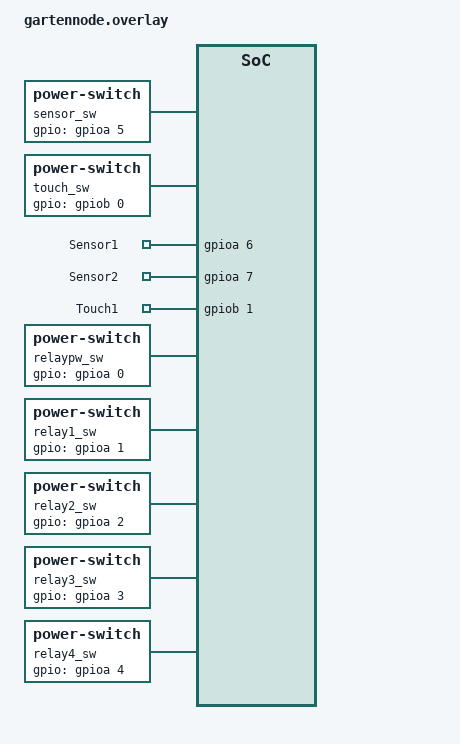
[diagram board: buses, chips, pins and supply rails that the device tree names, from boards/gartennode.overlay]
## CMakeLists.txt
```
cmake_minimum_required(VERSION 3.20.0)

list(APPEND BOARD_ROOT ${CMAKE_CURRENT_SOURCE_DIR})

macro(app_set_runner_args)
  board_runner_args(canopen "--node-id=${CONFIG_CANOPEN_NODE_ID}")
endmacro()

find_package(Zephyr REQUIRED HINTS $ENV{ZEPHYR_BASE})
project(gartennode_wasserverteiler)
FILE(GLOB app_sources src/*.c)
target_sources(app PRIVATE ${app_sources} objdict/CO_OD.c)
zephyr_include_directories(objdict src)
```

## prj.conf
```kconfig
# Print a banner on the UART on startup.
CONFIG_BOOT_BANNER=y

CONFIG_LOG=y
CONFIG_LOG_BACKEND_UART=y
CONFIG_CANOPEN_LOG_LEVEL_DBG=y
CONFIG_MULTITHREADING=y
CONFIG_WDT_LOG_LEVEL_DBG=y
CONFIG_WDT_DISABLE_AT_BOOT=y
CONFIG_WATCHDOG=y
CONFIG_TASK_WDT=y
CONFIG_TASK_WDT_MIN_TIMEOUT=500
CONFIG_THREAD_NAME=y
CONFIG_HEAP_MEM_POOL_SIZE=1024

CONFIG_GPIO=y
#CONFIG_ADC=y
CONFIG_SENSOR=y
CONFIG_FLASH=y
CONFIG_FLASH_MAP=y
CONFIG_STREAM_FLASH=y
CONFIG_SETTINGS=y
CONFIG_SETTINGS_NVS=y
CONFIG_NVS=y

CONFIG_CAN=y
#CONFIG_CAN_MAX_FILTER=13

CONFIG_MAIN_STACK_SIZE=2048

CONFIG_CANOPEN=y
CONFIG_CANOPENNODE_SYNC_THREAD=y
CONFIG_CANOPENNODE_STORAGE=y
CONFIG_MPU_ALLOW_FLASH_WRITE=y
CONFIG_CANOPENNODE_LEDS=y
CONFIG_CANOPENNODE_PROGRAM_DOWNLOAD=y
CONFIG_CANOPEN_NODE_ID=14
CONFIG_SETTINGS_LOG_LEVEL_DBG=y

CONFIG_LOG_PRINTK=y
CONFIG_REBOOT=y
# Enable Zephyr application to be booted by MCUboot
CONFIG_BOOTLOADER_MCUBOOT=y

# Use the default MCUBoot PEM key file (BOOT_SIGNATURE_KEY_FILE)
CONFIG_MCUBOOT_SIGNATURE_KEY_FILE="bootloader/mcuboot/gartennode.pem"
```

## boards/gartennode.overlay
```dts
/*
 * Copyright (c) 2022 Google LLC.
 *
 * SPDX-License-Identifier: Apache-2.0
 */

/ {
	sensor_sw: sensor_sw {
		compatible = "power-switch";
		gpios = <&gpioa 5 (GPIO_PULL_DOWN | GPIO_ACTIVE_HIGH)>;
		status = "okay";
	};
	touch_sw: touch_sw {
		compatible = "power-switch";
		gpios = <&gpiob 0 GPIO_ACTIVE_HIGH>;
		status = "okay";
	};

	buttons {
		compatible = "gpio-keys";
		sensor1: sensor1 {
			gpios = <&gpioa 6 GPIO_ACTIVE_HIGH>;
			label = "Sensor1";
		};
		sensor2: sensor2 {
			gpios = <&gpioa 7 GPIO_ACTIVE_HIGH>;
			label = "Sensor2";
		};
		touch1: touch1 {
			gpios = <&gpiob 1 GPIO_ACTIVE_HIGH>;
			label = "Touch1";
		};
	};

	relaypw_sw: relaypw_sw {
		compatible = "power-switch";
		/* using built-in LED pin for demonstration */
		gpios = <&gpioa 0 (GPIO_PULL_DOWN | GPIO_ACTIVE_HIGH)>;
		status = "okay";
	};
	relay1_sw: relay1_sw {
		compatible = "power-switch";
		/* using built-in LED pin for demonstration */
		gpios = <&gpioa 1 (GPIO_PULL_DOWN | GPIO_ACTIVE_HIGH)>;
		status = "okay";
	};
	relay2_sw: relay2_sw {
		compatible = "power-switch";
		/* using built-in LED pin for demonstration */
		gpios = <&gpioa 2 (GPIO_PULL_DOWN | GPIO_ACTIVE_HIGH)>;
		status = "okay";
	};
	relay3_sw: relay3_sw {
		compatible = "power-switch";
		/* using built-in LED pin for demonstration */
		gpios = <&gpioa 3 (GPIO_PULL_DOWN | GPIO_ACTIVE_HIGH)>;
		status = "okay";
	};
	relay4_sw: relay4_sw {
		compatible = "power-switch";
		/* using built-in LED pin for demonstration */
		gpios = <&gpioa 4 (GPIO_PULL_DOWN | GPIO_ACTIVE_HIGH)>;
		status = "okay";
	};

	aliases {
		green-led = &green_led;
	};
};
```

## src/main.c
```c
/*
 * Copyright (c) 2019 Vestas Wind Systems A/S
 *
 * SPDX-License-Identifier: Apache-2.0
 */

#include <inttypes.h>
#include <zephyr/kernel.h>
#include <zephyr/drivers/gpio.h>
#include <zephyr/sys/reboot.h>
#include <zephyr/settings/settings.h>
#include <zephyr/drivers/sensor.h>
#include <zephyr/drivers/sensor/w1_sensor.h>
#include <zephyr/storage/flash_map.h>
#include <zephyr/sys/printk.h>
#include <canopennode.h>
#include "valve.h"
#include "relais.h"
#include "watchdog.h"
#include "sensor.h"
#include "touch.h"
#include "led.h"

#define LOG_LEVEL CONFIG_CANOPEN_LOG_LEVEL
#include <zephyr/logging/log.h>
LOG_MODULE_REGISTER(app);

static CO_SDO_abortCode_t odf_2102(CO_ODF_arg_t *odf_arg);
static CO_SDO_abortCode_t odf_2103(CO_ODF_arg_t *odf_arg);
static CO_SDO_abortCode_t odf_2105(CO_ODF_arg_t *odf_arg);
static CO_SDO_abortCode_t odf_2107(CO_ODF_arg_t *odf_arg);
static CO_SDO_abortCode_t odf_2109(CO_ODF_arg_t *odf_arg);
static CO_SDO_abortCode_t odf_2111(CO_ODF_arg_t *odf_arg);
static CO_SDO_abortCode_t odf_2112(CO_ODF_arg_t *odf_arg);
static CO_SDO_abortCode_t odf_2113(CO_ODF_arg_t *odf_arg);

#define STORAGE_PARTITION	storage_partition
#define STORAGE_PARTITION_ID	FIXED_PARTITION_ID(STORAGE_PARTITION)

#define CAN_INTERFACE DEVICE_DT_GET(DT_CHOSEN(zephyr_canbus))
#define CAN_BITRATE (DT_PROP_OR(DT_CHOSEN(zephyr_canbus), bitrate, \
					  DT_PROP_OR(DT_CHOSEN(zephyr_canbus), bus_speed, \
						     CONFIG_CAN_DEFAULT_BITRATE)) / 1000)


/**
 * @brief Watchdog callback function
 *
 * @param channel_id Watchdog channel ID
 * @param user_data Pointer to user data (thread ID)
 */
static void main_watchdog_callback(int channel_id, void *user_data)
{
    LOG_ERR("Watchdog channel %d callback, user data: %p",
        channel_id, k_thread_name_get((k_tid_t)user_data));
	sys_reboot(SYS_REBOOT_COLD);
}

/**
 * @brief Configure LED indicators pins and callbacks.
 *
 * This routine configures the GPIOs for the red and green LEDs (if
 * available).
 *
 * @param nmt CANopenNode NMT object.
 */
static void initialize()
{
	if (led_init() != 0) {
		LOG_ERR("LED initialization failed");
	}
	if (sensor_init() != 0) {
		LOG_ERR("Sensor initialization failed");
	}
	if (relais_init() != 0) {
		LOG_ERR("Relais initialization failed");
	}
	if (touch_init() != 0) {
		LOG_ERR("Touch initialization failed");
	}
	// if (watchdog_init() != 0) {
	// 	LOG_ERR("Watchdog initialization failed");
	// }
}

/**
 * @brief Set sensor Enable
 *
 * @param odf_arg SDO argument structure.
 * @return SDO abort code.
 */
static CO_SDO_abortCode_t odf_2102(CO_ODF_arg_t *odf_arg)
{
	if (odf_arg->reading) {
		return CO_SDO_AB_NONE;
	}

	uint8_t value;

	if (odf_arg->data == NULL) {
		return CO_SDO_AB_GENERAL;
	}
	value = *odf_arg->data;
	
	int ret = sensor_enable(value);
	LOG_DBG("sensor_enable returned %d", ret);
	if (ret == 0 || ret == 1) {
		return CO_SDO_AB_NONE;
	}
	return CO_SDO_AB_GENERAL;
}

/**
 * @brief Set sensor period
 *
 * @param odf_arg SDO argument structure.
 * @return SDO abort code.
 */
static CO_SDO_abortCode_t odf_2103(CO_ODF_arg_t *odf_arg)
{
	if (odf_arg->reading) {
		return CO_SDO_AB_NONE;
	}
	if (odf_arg->data == NULL) {
		return CO_SDO_AB_GENERAL;
	}
	uint8_t value;
	value = *odf_arg->data;
	LOG_DBG("Set sensor period to %d ms", value);
	return CO_SDO_AB_NONE;
}

/**
 * @brief Set sensor Mapping
 *
 * @param odf_arg SDO argument structure.
 * @return SDO abort code.
 */
static CO_SDO_abortCode_t odf_2105(CO_ODF_arg_t *odf_arg)
{
	if (odf_arg->reading) {
		return CO_SDO_AB_NONE;
	}
	if (odf_arg->data == NULL) {
		return CO_SDO_AB_GENERAL;
	}
	if (odf_arg->subIndex == 0U || odf_arg->subIndex > 2U) {
		return CO_SDO_AB_GENERAL;
	}
	uint8_t value;
	value = *odf_arg->data;
	if (value == 0xFF) {
		canopen_storage_erase(CANOPEN_STORAGE_EEPROM);
		return CO_SDO_AB_NONE;
	}
	if (value >= 8) {
		LOG_ERR("Mapping value not possible");
		return CO_SDO_AB_GENERAL;
	}
	// memcpy(odf_arg->ODdataStorage, odf_arg->data, sizeof(uint8_t));

	renew_sensor_mapping();
	return CO_SDO_AB_NONE;
}

/**
 * @brief Set relais command
 *
 * @param odf_arg SDO argument structure.
 * @return SDO abort code.
 */
static CO_SDO_abortCode_t odf_2107(CO_ODF_arg_t *odf_arg)
{
	if (odf_arg->data == NULL) {
		return CO_SDO_AB_GENERAL;
	}
	if (odf_arg->subIndex == 0U) {
		return CO_SDO_AB_GENERAL;
	}

	uint8_t value;
	value = *odf_arg->data;
	if (valve_set_state((odf_arg->subIndex - 1)>>1, 0xFF) != 0) {
		return CO_SDO_AB_GENERAL;
	}
	return CO_SDO_AB_NONE;
}

/**
 * @brief Set valve order
 *
 * @param odf_arg SDO argument structure.
 * @return SDO abort code.
 */
static CO_SDO_abortCode_t odf_2109(CO_ODF_arg_t *odf_arg)
{
	if (odf_arg->data == NULL) {
		return CO_SDO_AB_GENERAL;
	}
	if (odf_arg->subIndex == 0U) {
		return CO_SDO_AB_GENERAL;
	}
	if (odf_arg->subIndex > 2) {
		LOG_ERR("SubIndex not possible");
		return CO_SDO_AB_GENERAL;
	}
	uint8_t value;
	value = *odf_arg->data;
	if (valve_order(odf_arg->subIndex - 1, (bool)value) != 0) {
		return CO_SDO_AB_GENERAL;
	}
	return CO_SDO_AB_NONE;
}

/**
 * @brief Set valve routine time
 *
 * @param odf_arg SDO argument structure.
 * @return SDO abort code.
 */
static CO_SDO_abortCode_t odf_2110(CO_ODF_arg_t *odf_arg)
{
	if (odf_arg->reading) {
		return CO_SDO_AB_NONE;
	}
	if (odf_arg->data == NULL) {
		return CO_SDO_AB_GENERAL;
	}
	uint32_t value;
	value = (*(uint32_t *)(odf_arg->data));
	LOG_DBG("Set valve routine time to %"PRIu32" ms", value);
	return CO_SDO_AB_NONE;
}

/**
 * @brief Set valve Mapping
 *
 * @param odf_arg SDO argument structure.
 * @return SDO abort code.
 */
static CO_SDO_abortCode_t odf_2111(CO_ODF_arg_t *odf_arg)
{
	if (odf_arg->reading) {
		return CO_SDO_AB_NONE;
	}
	if (odf_arg->data == NULL) {
		return CO_SDO_AB_GENERAL;
	}
	if (odf_arg->subIndex == 0U || odf_arg->subIndex > 4U) {
		return CO_SDO_AB_GENERAL;
	}
	uint8_t value;
	value = *odf_arg->data;
	if (value >= 4) {
		LOG_ERR("Mapping value not possible");
		return CO_SDO_AB_GENERAL;
	}
	// memcpy(odf_arg->ODdataStorage, odf_arg->data, sizeof(uint8_t));

	return CO_SDO_AB_NONE;
}

/**
 * @brief Set touch Enable
 *
 * @param odf_arg SDO argument structure.
 * @return SDO abort code.
 */
static CO_SDO_abortCode_t odf_2112(CO_ODF_arg_t *odf_arg)
{
	if (odf_arg->reading) {
		return CO_SDO_AB_NONE;
	}

	uint8_t value;

	if (odf_arg->data == NULL) {
		return CO_SDO_AB_GENERAL;
	}
	value = *odf_arg->data;
	LOG_DBG("Set touch enable to %d", value);
	int ret = touch_enable(value);
	LOG_DBG("touch_enable returned %d", ret);
	if (ret == 0 || ret == 1) {
		return CO_SDO_AB_NONE;
	}
	return CO_SDO_AB_GENERAL;
}

/**
 * @brief Set touch valve index
 *
 * @param odf_arg SDO argument structure.
 * @return SDO abort code.
 */
static CO_SDO_abortCode_t odf_2113(CO_ODF_arg_t *odf_arg)
{
	if (odf_arg->reading) {
		return CO_SDO_AB_GENERAL;
	}

	uint8_t value;

	if (odf_arg->data == NULL) {
		return CO_SDO_AB_GENERAL;
	}
	value = *odf_arg->data;
	
	if (value >= 2) {
		return CO_SDO_AB_GENERAL;
	}
	// memcpy(odf_arg->ODdataStorage, odf_arg->data, sizeof(uint8_t));
	return CO_SDO_AB_NONE;
}

/**
 * @brief Main application entry point.
 *
 * The main application thread is responsible for initializing the
 * CANopen stack and doing the non real-time processing.
 */
int main(void)
{
	CO_NMT_reset_cmd_t reset = CO_RESET_NOT;
	CO_ReturnError_t err;
	struct canopen_context can;
	uint16_t timeout;
	uint32_t elapsed;
	int64_t timestamp;
	int task_id = -1;
#ifdef CONFIG_CANOPENNODE_STORAGE
	int ret;
#endif /* CONFIG_CANOPENNODE_STORAGE */
	can.dev = CAN_INTERFACE;
	if (!device_is_ready(can.dev)) {
		LOG_ERR("CAN interface not ready");
		return 0;
	}

#ifdef CONFIG_CANOPENNODE_STORAGE
	LOG_INF("Initializing settings subsystem\n");
	ret = settings_subsys_init();
	if (ret) {
		LOG_ERR("failed to initialize settings subsystem (err = %d)",
			ret);
		int error = 0;
		const struct flash_area *storage = NULL;
		// Open the partition
		error = flash_area_open(PARTITION_ID(storage_partition), &storage);
		if (error < 0) {
			return error;
		}

		// Erase the first sector (e.g., 4KB)
		error = flash_area_erase(storage, 0, PARTITION_SIZE(storage_partition));
		if (error < 0) {
			return error;
		}
		sys_reboot(SYS_REBOOT_COLD);
	}

	ret = settings_load();
	if (ret) {
		LOG_ERR("failed to load settings (err = %d)", ret);
		return 0;
	}
#endif /* CONFIG_CANOPENNODE_STORAGE */

	OD_powerOnCounter++;

	//task_id = watchdog_add(2000, main_watchdog_callback, NULL);
	if (task_id < 0) {
		LOG_ERR("Failed to add watchdog channel");
	}

	while (reset != CO_RESET_APP) {
		elapsed =  0U; /* milliseconds */

		LOG_INF("CANopen stack initialize");
		err = CO_init(&can, CONFIG_CANOPEN_NODE_ID, CAN_BITRATE);
		if (err != CO_ERROR_NO) {
			LOG_ERR("CO_init failed (err = %d)", err);
			return 0;
		}
		LOG_INF("CANopen stack initialized");

#ifdef CONFIG_CANOPENNODE_STORAGE
		canopen_storage_attach(CO->SDO[0], CO->em);
#endif /* CONFIG_CANOPENNODE_STORAGE */

		initialize();
		led_configure(CO->NMT);
		CO_OD_configure(CO->SDO[0], OD_2102_sensorEnable,
				odf_2102, NULL, 0U, 0U);
		CO_OD_configure(CO->SDO[0], OD_2103_sensorPeriode,
				odf_2103, NULL, 0U, 0U);
		CO_OD_configure(CO->SDO[0], OD_2105_sensorMapping,
				odf_2105, NULL, 0U, 0U);
		CO_OD_configure(CO->SDO[0], OD_2107_relaisCmd,
				odf_2107, NULL, 0U, 0U);
		CO_OD_configure(CO->SDO[0], OD_2109_valveCmd,
				odf_2109, NULL, 0U, 0U);
		CO_OD_configure(CO->SDO[0], OD_2110_valveRoutineTime,
				odf_2110, NULL, 0U, 0U);
		CO_OD_configure(CO->SDO[0], OD_2111_valveMapping,
				odf_2111, NULL, 0U, 0U);
		CO_OD_configure(CO->SDO[0], OD_2112_touchEnable,
				odf_2112, NULL, 0U, 0U);
		CO_OD_configure(CO->SDO[0], OD_2113_touchValveIndex,
				odf_2113, NULL, 0U, 0U);

		if (IS_ENABLED(CONFIG_CANOPENNODE_PROGRAM_DOWNLOAD)) {
			canopen_program_download_attach(CO->NMT, CO->SDO[0],
							CO->em);
		}

		sensor_enable(OD_sensorEnable);

		CO_CANsetNormalMode(CO->CANmodule[0]);
		struct sCO_OD_EEPROM eeprom_old = CO_OD_EEPROM;

		while (true) {
			timeout = 1U; /* default timeout in milliseconds */
			timestamp = k_uptime_get();
			reset = CO_process(CO, (uint16_t)elapsed, &timeout);

			if (reset != CO_RESET_NOT) {
				break;
			}

			if (timeout > 0) {
				sensor_process();
				relais_process();
				valve_process();
#ifdef CONFIG_CANOPENNODE_STORAGE
				ret = memcmp(&eeprom_old, &CO_OD_EEPROM, sizeof(CO_OD_EEPROM));
				if (ret != 0) {
					LOG_DBG("EEPROM changed, saving to flash");
					memcpy(&eeprom_old, &CO_OD_EEPROM, sizeof(CO_OD_EEPROM));
					ret = canopen_storage_save(
						CANOPEN_STORAGE_EEPROM);
					if (ret) {
						LOG_ERR("failed to save EEPROM");
					}
				}

#endif /* CONFIG_CANOPENNODE_STORAGE */
				if (task_id >= 0) {
					int ret = watchdog_feed(task_id);
					if (ret != 0) {
						LOG_ERR("Failed to feed watchdog channel %d: %d", task_id, ret);
					}
				}
				/*
				 * Try to sleep for as long as the
				 * stack requested and calculate the
				 * exact time elapsed.
				 */
				k_sleep(K_MSEC(timeout));
				elapsed = (uint32_t)k_uptime_delta(&timestamp);
			} else {
				/*
				 * Do not sleep, more processing to be
				 * done by the stack.
				 */
				elapsed = 0U;
			}
		}

        sensor_enable(false);

		if (reset == CO_RESET_COMM) {
			LOG_INF("Resetting communication");
		}
	}
	if (task_id >= 0) {
		int ret = watchdog_delete(task_id);
		if (ret != 0) {
			LOG_ERR("Failed to delete watchdog channel %d: %d", task_id, ret);
		}
	}

	LOG_INF("Resetting device");

	CO_delete(&can);
	sys_reboot(SYS_REBOOT_COLD);
}
```

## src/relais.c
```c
#include <zephyr/logging/log.h>
#include <zephyr/drivers/gpio.h>
#include <canopennode.h>
#include "relais.h"

LOG_MODULE_REGISTER(relais,CONFIG_CANOPEN_LOG_LEVEL);


static struct gpio_dt_spec relaypw_sw =
	GPIO_DT_SPEC_GET_OR(DT_NODELABEL(relaypw_sw), gpios, {0});
static struct gpio_dt_spec relay1_sw =
	GPIO_DT_SPEC_GET_OR(DT_NODELABEL(relay1_sw), gpios, {0});
static struct gpio_dt_spec relay2_sw =
	GPIO_DT_SPEC_GET_OR(DT_NODELABEL(relay2_sw), gpios, {0});
static struct gpio_dt_spec relay3_sw =
	GPIO_DT_SPEC_GET_OR(DT_NODELABEL(relay3_sw), gpios, {0});
static struct gpio_dt_spec relay4_sw =
	GPIO_DT_SPEC_GET_OR(DT_NODELABEL(relay4_sw), gpios, {0});

static struct gpio_dt_spec *relais[4] = {
	&relay1_sw,
	&relay2_sw,
	&relay3_sw,
	&relay4_sw
};

/**
 * @brief Initialize relais GPIOs
 *
 * @return int 0 on success, -1 on error
 */
int relais_init(void) {
    int err;
	if (!gpio_is_ready_dt(&relaypw_sw)) {
		LOG_ERR("The relaypw_sw switch pin GPIO port is not ready.\n");
		return -1;
	}
	err = gpio_pin_configure_dt(&relaypw_sw, GPIO_OUTPUT_ACTIVE);
	if (err != 0) {
		LOG_ERR("Configuring relaypw_sw switch GPIO pin failed: %d\n", err);
		return -1;
	}
    for (int i = 0; i < 4; i++) {
        if (!gpio_is_ready_dt(relais[i])) {
            LOG_ERR("The relais%d_sw switch pin GPIO port is not ready.\n", i+1);
            return -1;
        }
        err = gpio_pin_configure_dt(relais[i], GPIO_OUTPUT_INACTIVE);
        if (err != 0) {
            LOG_ERR("Configuring relais%d_sw switch GPIO pin failed: %d\n", i+1, err);
            return -1;
        }
    }
    return 0;
}

/**
 * @brief Set Relais state
 * 
 * @param idx Relais index (0-3)
 * @param value Relais state (0=off, 1=on)
 * @return int 0 on success, -1 on error
 */
// int relais_set(uint8_t idx, bool value) {
//     int err;
//     if (idx >= 4) {
//         LOG_ERR("Relais index out of range");
//         return -1;
//     }
//     err = gpio_pin_set_dt(relais[idx], value);
//     if (err != 0) {
//         LOG_ERR("Setting relais%d switch GPIO pin level failed: %d", idx+1, err);
//         return -1;
//     }
//     CO_LOCK_OD();
//     OD_relaisState[idx] = (BOOLEAN)value;
//     CO_UNLOCK_OD();
//     return 0;
// }

/**
 *  @brief process relais commands
 *
 *  @return 0 on success, -1 on error
 */
int relais_process(void) {
	int err;
	for (uint8_t i=0;i<4;i++) {
		if (OD_relaisState[i] != (BOOLEAN)(OD_relaisCmd[i])) {
			LOG_DBG("Processing relais%d command: %d", i+1, (uint8_t)OD_relaisCmd[i]);
			int set_value = 0; 
			if ((int)(OD_relaisCmd[i]) != 0) {
				set_value = 1;
			}
			err = gpio_pin_set_dt(relais[i], set_value);
			if (err != 0) {
				LOG_ERR("Setting relais switch GPIO pin level failed: %d", err);
				return -1;
			}
			CO_LOCK_OD();
			OD_relaisState[i] = (BOOLEAN)set_value;
			CO_UNLOCK_OD();
		}
	}
	return 0;
}
```

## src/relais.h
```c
#ifndef _RELAIS_H
#define _RELAIS_H

#include <zephyr/kernel.h>

#if !DT_NODE_EXISTS(DT_NODELABEL(relaypw_sw))
#error "Overlay for relaypw_sw output node not properly defined."
#endif
#if !DT_NODE_EXISTS(DT_NODELABEL(relay1_sw))
#error "Overlay for relay1_sw output node not properly defined."
#endif
#if !DT_NODE_EXISTS(DT_NODELABEL(relay2_sw))
#error "Overlay for relay2_sw output node not properly defined."
#endif
#if !DT_NODE_EXISTS(DT_NODELABEL(relay3_sw))
#error "Overlay for relay3_sw output node not properly defined."
#endif
#if !DT_NODE_EXISTS(DT_NODELABEL(relay4_sw))
#error "Overlay for relay4_sw output node not properly defined."
#endif

int relais_init(void);
// int relais_set(uint8_t idx, bool value);
int relais_process(void);

#endif /* _RELAIS_H */
```

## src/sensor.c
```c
#include <zephyr/kernel.h>
#include <zephyr/drivers/gpio.h>
#include <zephyr/sys/reboot.h>
#include <zephyr/logging/log.h>
#include <canopennode.h>
#include "sensor.h"
#include "watchdog.h"
#include "valve.h"

#define SENSOR_STACK 1024

LOG_MODULE_REGISTER(sensor, CONFIG_CANOPEN_LOG_LEVEL);
K_THREAD_STACK_DEFINE(sensor_stack_area, SENSOR_STACK);

static void sensor_watchdog_callback(int channel_id, void *user_data);

typedef struct {
	uint8_t idx;
	bool state;
	bool value;
}sensor_valve_state_t;

static struct gpio_dt_spec sensor_sw =
	GPIO_DT_SPEC_GET_OR(DT_NODELABEL(sensor_sw), gpios, {0});
static struct gpio_dt_spec sensor1 =
	GPIO_DT_SPEC_GET_OR(DT_NODELABEL(sensor1), gpios, {0});
static struct gpio_dt_spec sensor2 =
	GPIO_DT_SPEC_GET_OR(DT_NODELABEL(sensor2), gpios, {0});

static struct gpio_dt_spec *sensors[2] = {
	&sensor1,
	&sensor2
};

static sensor_valve_state_t sensor_valve_state[2] = {
	{0, false, false},
	{1, false, false}
};
static volatile bool renew_mapping = true;
static bool sensor_loop = false;
static _thread_t sensor_thread;
static k_tid_t sensor_tid;
static bool sensor_value[2] = {false};


/**
 * @brief Renew sensor to valve mapping
 */
void renew_sensor_mapping(void) {
	renew_mapping = true;
}

/**
 * @brief Update sensor to valve mapping
 */
void sensor_mapping_update(void) {
	for (int i=0;i<2;i++) {
		uint8_t mapping = OD_sensorMapping[i];
		if (mapping >= 8) {
			LOG_ERR("Sensor mapping value not valid");
			continue;
		}
		sensor_valve_state[i].idx = mapping >> 2;
		sensor_valve_state[i].state = ((mapping >> 1) & 0x01) ? true : false;
		sensor_valve_state[i].value = (mapping & 0x01) ? true : false;
	}
}
/**
 * @brief Initialize sensor GPIOs
 */
int sensor_init(void)
{
    int err;
    
    if (!gpio_is_ready_dt(&sensor_sw)) {
        LOG_ERR("The sensor switch pin GPIO port is not ready.\n");
        return -1;
    }
    err = gpio_pin_configure_dt(&sensor_sw, GPIO_OUTPUT_INACTIVE);
    if (err != 0) {
        LOG_ERR("Configuring sensor switch GPIO pin failed: %d\n", err);
        return -1;
    }
    for (int i=0;i<2;i++) {
        if (!gpio_is_ready_dt(sensors[i])) {
            LOG_ERR("The sensor%d pin GPIO port is not ready.\n", i+1);
            return -1;
        }
        err = gpio_pin_configure_dt(sensors[i], GPIO_INPUT);
        if (err != 0) {
            LOG_ERR("Configuring sensor%d GPIO pin failed: %d\n", i+1, err);
            return -1;
        }
    }
	sensor_mapping_update();
    return 0;
}

/**
 * @brief Watchdog callback function
 *
 * @param channel_id Watchdog channel ID
 * @param user_data Pointer to user data (thread ID)
 */
static void sensor_watchdog_callback(int channel_id, void *user_data)
{
    LOG_ERR("Watchdog channel %d callback, user data: %p",
        channel_id, k_thread_name_get((k_tid_t)user_data));
	sys_reboot(SYS_REBOOT_COLD);
}

/**
 * @brief Enable or disable sensor thread
 *
 * @param value true to enable, false to disable
 * @return 0 on success, -1 on error, 1 if already started
 */
int sensor_enable(bool value)
{
	int err;
	if (!gpio_is_ready_dt(&sensor_sw)) {
		LOG_ERR("The sensor switch pin GPIO port is not ready.\n");
		return 10;
	}
    if (value) {
		LOG_DBG("sensor_enable called with value: %d", value);
		err = gpio_pin_set_dt(&sensor_sw, 1);
		if (err != 0) {
			LOG_ERR("Configuring sensor switch GPIO pin failed: %d\n", err);
    		return 11;
		}
		if (OD_sensorEnable == 1) {
			return 1;
		}
		sensor_loop = true;
		sensor_tid = k_thread_create(&sensor_thread, sensor_stack_area,
                                 K_THREAD_STACK_SIZEOF(sensor_stack_area),
                                 sensor_func,
                                 NULL, NULL, NULL,
                                 K_LOWEST_APPLICATION_THREAD_PRIO, 0, K_NO_WAIT);
	} else {
		LOG_DBG("sensor_enable called with value: %d", value);
		sensor_loop = false;
		err = gpio_pin_set_dt(&sensor_sw, 0);
		if (err != 0) {
			LOG_ERR("Setting sensor switch GPIO pin level failed: %d\n", err);
    		return 11;
		}
    }
    return 0;
}

/**
 * @brief Check if sensor thread is enabled
 *
 * @return true if enabled, false otherwise
 */
bool sensor_enabled(void) {
	return OD_sensorEnable == 1;
}


/**
 * @brief Sensor thread function
 *
 * @param d0 Unused
 * @param d1 Unused
 * @param d2 Unused
 */
void sensor_func(void *d0, void *d1, void *d2) {
	LOG_DBG("start sensor thread");
	// bool set_update = false;
	// int wdg_id = watchdog_add((uint32_t)(2*OD_sensorPeriode), sensor_watchdog_callback,(void *)k_current_get());
	CO_LOCK_OD();
	OD_sensorEnable = 1;
	CO_UNLOCK_OD();
	LOG_DBG("Sensor Period: %d ms", OD_sensorPeriode);
	LOG_DBG("start loop");
    while(sensor_loop) {
		// if (wdg_id >= 0) {
		// 	watchdog_feed(wdg_id);
		// }
		for (int i=0;i<2;i++) {
			if (sensors[i]==NULL) {
				continue;
			}
			if (gpio_pin_get_dt(sensors[i]) != 0) {
				sensor_value[i] = true;
			}else {
				sensor_value[i] = false;
			}

			if ((BOOLEAN)(OD_sensorMeasurement[i]) != (BOOLEAN)sensor_value[i]) {
				CO_LOCK_OD();
				OD_sensorMeasurement[i] = (BOOLEAN)(sensor_value[i]);
				CO_UNLOCK_OD();
				if (sensor_valve_state[i].state == (BOOLEAN)(OD_sensorMeasurement[i])) {
					valve_set_state(sensor_valve_state[i].idx, sensor_valve_state[i].value);
				}
			}
		}
        k_sleep(K_MSEC(OD_sensorPeriode));
    }
	LOG_DBG("stop sensor thread");
	CO_LOCK_OD();
	OD_sensorEnable = 0;
	CO_UNLOCK_OD();
	// if (wdg_id >= 0) {
	// 	watchdog_delete(wdg_id);
	// }
}

/**
 *  @brief process sensor mapping update
 */
int sensor_process(void) {
	if (renew_mapping) {
		sensor_mapping_update();
		renew_mapping = false;
	}
	return 0;
}
```

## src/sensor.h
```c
#ifndef _SENSOR_H
#define _SENSOR_H

#include <zephyr/kernel.h>

#if !DT_NODE_EXISTS(DT_NODELABEL(sensor_sw))
#error "Overlay for sensor_sw output node not properly defined."
#endif
#if !DT_NODE_EXISTS(DT_NODELABEL(sensor1))
#error "Overlay for sensor1 output node not properly defined."
#endif
#if !DT_NODE_EXISTS(DT_NODELABEL(sensor2))
#error "Overlay for sensor2 output node not properly defined."
#endif

void renew_sensor_mapping(void);
void sensor_mapping_update(void);
int sensor_init(void);
void sensor_func(void *d0, void *d1, void *d2);
int sensor_enable(bool value);
bool sensor_enabled(void);
int sensor_process(void);

#endif /* _SENSOR_H */
```

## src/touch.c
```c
#include <zephyr/kernel.h>
#include <zephyr/drivers/gpio.h>
#include <zephyr/sys/reboot.h>
#include <zephyr/logging/log.h>
#include <canopennode.h>
#include "touch.h"
#include "watchdog.h"
#include "valve.h"

#define TOUCH_STACK 1024

LOG_MODULE_REGISTER(touch, CONFIG_CANOPEN_LOG_LEVEL);
K_THREAD_STACK_DEFINE(touch_stack_area, TOUCH_STACK);

static void touch_watchdog_callback(int channel_id, void *user_data);

static struct gpio_dt_spec touch_sw =
	GPIO_DT_SPEC_GET_OR(DT_NODELABEL(touch_sw), gpios, {0});
static struct gpio_dt_spec touch1 =
	GPIO_DT_SPEC_GET_OR(DT_NODELABEL(touch1), gpios, {0});

static const uint32_t touch_periode = 500;
static bool touch_loop = false;
static _thread_t touch_thread;
static k_tid_t touch_tid;
static bool touch_value = false;
static bool *touch_value_last = NULL;

/**
 * @brief Initialize touch GPIOs
 */
int touch_init(void)
{
    int err;
    
    if (!gpio_is_ready_dt(&touch_sw)) {
        LOG_ERR("The touch switch pin GPIO port is not ready.\n");
        return -1;
    }
    err = gpio_pin_configure_dt(&touch_sw, GPIO_OUTPUT_INACTIVE);
    if (err != 0) {
        LOG_ERR("Configuring touch switch GPIO pin failed: %d\n", err);
        return -1;
    }

	if (!gpio_is_ready_dt(&touch1)) {
		LOG_ERR("The touch1 pin GPIO port is not ready.\n");
		return -1;
	}
	err = gpio_pin_configure_dt(&touch1, GPIO_INPUT);
	if (err != 0) {
		LOG_ERR("Configuring touch1 GPIO pin failed: %d\n", err);
		return -1;
	}
	return 0;
}

/**
 * @brief Watchdog callback function
 *
 * @param channel_id Watchdog channel ID
 * @param user_data Pointer to user data (thread ID)
 */
static void touch_watchdog_callback(int channel_id, void *user_data)
{
    LOG_ERR("Watchdog channel %d callback, user data: %p",
        channel_id, k_thread_name_get((k_tid_t)user_data));
	sys_reboot(SYS_REBOOT_COLD);
}

/**
 * @brief Enable or disable touch thread
 *
 * @param value true to enable, false to disable
 * @return 0 on success, -1 on error, 1 if already started
 */
int touch_enable(bool value)
{
	int err;
	if (!gpio_is_ready_dt(&touch_sw)) {
		LOG_ERR("The touch switch pin GPIO port is not ready.\n");
		return 10;
	}
	LOG_DBG("touch_enabled called with value: %d", value);
	if (value) {
		err = gpio_pin_set_dt(&touch_sw, 1);
		if (err != 0) {
			LOG_ERR("Configuring touch switch GPIO pin failed: %d\n", err);
			return 11;
		}
		if (OD_touchEnable == 1) {
			LOG_DBG("Thread already started");
			return 1;
		}
		LOG_DBG("Start touch thread");
		touch_loop = true;
		touch_tid = k_thread_create(&touch_thread, touch_stack_area,
								K_THREAD_STACK_SIZEOF(touch_stack_area),
								touch_func,
								NULL, NULL, NULL,
								K_LOWEST_APPLICATION_THREAD_PRIO, 0, K_NO_WAIT);
	} else {
		touch_loop = false;
		err = gpio_pin_set_dt(&touch_sw, 0);
		if (err != 0) {
			LOG_ERR("Setting touch switch GPIO pin level failed: %d\n", err);
			return 11;
		}
	}
	return 0;
}

/**
 * @brief Touch thread function
 *
 * @param d0 Unused
 * @param d1 Unused
 * @param d2 Unused
 */
void touch_func(void *d0, void *d1, void *d2) {
	LOG_DBG("start thread");
	// bool set_update = false;
	// int wdg_id = watchdog_add((uint32_t)(2*touch_periode), touch_watchdog_callback,(void *)k_current_get());
	CO_LOCK_OD();
	OD_touchEnable = 1;
	CO_UNLOCK_OD();
	LOG_DBG("start loop");
	bool touch_value_raw = false;
	while(touch_loop) {
		// if (wdg_id >= 0) {
		// 	watchdog_feed(wdg_id);
		// }
		touch_value_raw = gpio_pin_get_dt(&touch1);
		if (touch_value_raw != 0) {
			touch_value = true;
		}else {
			touch_value = false;
		}

		if (touch_value_last == NULL) {
			touch_value_last = k_malloc(sizeof(bool));
			*touch_value_last = touch_value;
		} 
		if (*touch_value_last != touch_value && touch_value == true) {
			valve_toggle(OD_touchValveIndex);
		}
		*touch_value_last = touch_value;
		k_sleep(K_MSEC(touch_periode));
	}
	// if (wdg_id >= 0) {
	// 	watchdog_delete(wdg_id);
	// }
	CO_LOCK_OD();
	OD_touchEnable = 0;
	CO_UNLOCK_OD();
	k_free(touch_value_last);
}
```

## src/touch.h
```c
#ifndef _TOUCH_H
#define _TOUCH_H

#include <zephyr/kernel.h>

#if !DT_NODE_EXISTS(DT_NODELABEL(touch_sw))
#error "Overlay for touch_sw output node not properly defined."
#endif
#if !DT_NODE_EXISTS(DT_NODELABEL(touch1))
#error "Overlay for touch1 output node not properly defined."
#endif

int touch_init(void);
void touch_func(void *d0, void *d1, void *d2);
int touch_enable(bool value);

#endif /* _TOUCH_H */
```

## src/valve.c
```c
#include <zephyr/kernel.h>
#include <zephyr/logging/log.h>
#include <canopennode.h>
#include "valve.h"

#define VALVE_STACK 1024

LOG_MODULE_REGISTER(valve, CONFIG_CANOPEN_LOG_LEVEL);

K_THREAD_STACK_DEFINE(valve_stack_area1, VALVE_STACK);
K_THREAD_STACK_DEFINE(valve_stack_area2, VALVE_STACK);

typedef struct {
    uint8_t idx;
    bool value;
}valve_thread_params;

static volatile bool renew_mapping = false;
static bool valve_running[2] = {false};
static valve_thread_params *valve_cmd[2] = {NULL};
static k_tid_t valve_tid[2];
/* 
static k_thread_stack_t *valve_stack_area[2] = {
	valve_stack_area1,
	valve_stack_area2
};
static _thread_t valve_thread[2];
*/
static _thread_t valve_thread1;
static _thread_t valve_thread2;

/**
 * @brief set valve state in object dictionary
 *
 * @param idx valve index (0 or 1)
 * @param state valve state (0=closed, 1=open, 0xFF=unknown)
 * @return 0 on success, -1 on error
 */
int valve_set_state(uint8_t idx, uint8_t state) {
	if (idx >= 2) {
		LOG_ERR("Valve index out of range");
		return -1;
	}
	if (state != 0 && state != 1 && state != 0xFF) {
		LOG_ERR("Valve state not valid");
		return -1;
	}
	CO_LOCK_OD();
	OD_valveState[idx] = state;
	CO_UNLOCK_OD();
	return 0;
}

/**
 * @brief toggle valve state
 *
 * @param idx valve index (0 or 1)
 * @return 0 on success, -1 on error
 */
int valve_toggle(uint8_t idx) {
	if (idx >= 2) {
		LOG_ERR("Valve index out of range");
		return -1;
	}
	return valve_order(idx, !OD_valveState[idx]);
}

/**
 * @brief set valve command
 *
 * @param idx valve index (0 or 1)
 * @param value valve state (true for open, false for closed)
 * @return 0 on success, -1 on error
 */
int valve_order(uint8_t idx, bool value) {
    if (idx >= 2) {
        LOG_ERR("Valve index out of range");
        return -1;
    }
    if (valve_cmd[idx] == NULL) {
        valve_cmd[idx] = k_malloc(sizeof(valve_thread_params));
        if (valve_cmd[idx] == NULL) {
            LOG_ERR("could not alloc memory");
            return -1;
        }
    }
    valve_cmd[idx]->idx = idx;
    valve_cmd[idx]->value = value;
	LOG_DBG("Set valve_cmd for valve %d to %d", idx, value);
    return 0;
}

/**
 * @brief valve thread function
 *
 * @param d0 pointer to valve_thread_params structure
 * @param d1 unused
 * @param d2 unused
 */
void valve_func(void *d0, void *d1, void *d2) {
	LOG_DBG("start valve_func");
	if (d0 == NULL) {
		LOG_DBG("finish valve_func due to NULL parameter");
		return;
	}
	valve_thread_params params = *(valve_thread_params *)d0;
	k_free(d0);
	if (OD_valveState[params.idx] == (uint8_t)params.value) {
		LOG_DBG("finish valve_func due to valve already in desired state");
		return;
	}
    uint8_t relais = 0;
	valve_running[params.idx] = true;
	LOG_DBG("start valve_func for %d with %d",params.idx,(uint8_t)params.value);
    if (OD_valveState[params.idx] == 0xFF) {
        bool old_value = !params.value;
        relais = OD_valveMapping[(params.idx*2) + (uint8_t)old_value];
        if (relais >= 4) {
            LOG_ERR("Relais index out of range");
            valve_set_state(params.idx, 0xFF);
            valve_running[params.idx] = false;
            return;
        }
        CO_LOCK_OD();
        OD_relaisCmd[relais] = 1;
        CO_UNLOCK_OD();
		LOG_DBG("Sleep for %d ms", OD_valveRoutineTime);
        k_sleep(K_MSEC(OD_valveRoutineTime));
        CO_LOCK_OD();
        OD_relaisCmd[relais] = 0;
        CO_UNLOCK_OD();
    }
	relais = OD_valveMapping[(params.idx*2) + (uint8_t)params.value];
    if (relais >= 4) {
        LOG_ERR("Relais index out of range");
        valve_set_state(params.idx, 0xFF);
        valve_running[params.idx] = false;
        return;
    }
	LOG_DBG("Set relais %d for valve %d", relais+1, params.idx);
	CO_LOCK_OD();
	OD_relaisCmd[relais] = 1;
	CO_UNLOCK_OD();
	LOG_DBG("Sleep for %d ms", OD_valveRoutineTime);
	k_sleep(K_MSEC(OD_valveRoutineTime));
	LOG_DBG("Reset relais %d for valve %d", relais+1, params.idx);
	CO_LOCK_OD();
	OD_relaisCmd[relais] = 0;
	CO_UNLOCK_OD();
	valve_set_state(params.idx, (uint8_t)params.value);
	valve_running[params.idx] = false;
	LOG_DBG("finish valve_func");
}

/**
 *  @brief start valve thread if command is pending
 *
 *  @return 0 on success, -1 on error
 */
int valve_start_thread(void) {
	for (int i=0;i<2;i++) {
		if (valve_running[i]) {
			continue;
		}
		if (valve_cmd[i] == NULL) {
			continue;
		}
        valve_thread_params *params = valve_cmd[i];
		if (i == 0) {
			valve_tid[i] = k_thread_create(&valve_thread1, valve_stack_area1,
									K_THREAD_STACK_SIZEOF(valve_stack_area1),
									valve_func,
									(void *)params, NULL, NULL,
									K_LOWEST_APPLICATION_THREAD_PRIO, 0, K_NO_WAIT);
		} else if (i == 1) {
			valve_tid[i] = k_thread_create(&valve_thread2, valve_stack_area2,
									K_THREAD_STACK_SIZEOF(valve_stack_area2),
									valve_func,
									(void *)params, NULL, NULL,
									K_LOWEST_APPLICATION_THREAD_PRIO, 0, K_NO_WAIT);
		}
		valve_cmd[i] = NULL;
	}
    return 0;
}

/**
 * @brief routine to start valve threads if commands are pending
 */
int valve_process(void) {
	if (valve_cmd[0] != NULL || valve_cmd[1] != NULL) {
		valve_start_thread();
	}
	return 0;
}
```

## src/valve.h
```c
#ifndef _VALVE_H
#define _VALVE_H

int valve_set_state(uint8_t idx, uint8_t state);
int valve_toggle(uint8_t idx);
int valve_order(uint8_t idx, bool value);
void valve_func(void *d0, void *d1, void *d2);
int valve_start_thread(void);
int valve_process(void);

#endif
```

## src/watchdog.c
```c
#include <zephyr/drivers/watchdog.h>
#include <zephyr/task_wdt/task_wdt.h>
#include <zephyr/logging/log.h>
#include "watchdog.h"

LOG_MODULE_REGISTER(watchdog);

/**
 * @brief Add a watchdog channel
 *
 * @param reload_period Reload period in seconds
 * @param callback Callback function to be called on timeout
 * @param user_data Pointer to user data to be passed to the callback
 * @return int Channel ID on success, -1 on error
 */
int watchdog_add(uint8_t reload_period, watchdog_callback_t callback, void *user_data)
{
    int channel_id;
    channel_id = task_wdt_add((uint32_t)reload_period, (task_wdt_callback_t)callback, user_data);
    if (channel_id < 0) {
        LOG_ERR("Failed to add watchdog channel: %d", channel_id);
        return -1;
    }
    return channel_id;
}

/**
 * @brief Delete a watchdog channel
 *
 * @param channel_id Channel ID to be deleted
 * @return int 0 on success, -1 on error
 */
int watchdog_delete(int channel_id)
{
    int ret;
    ret = task_wdt_delete(channel_id);
    if (ret != 0) {
        LOG_ERR("Failed to delete watchdog channel %d: %d", channel_id, ret);
        return -1;
    }
    return 0;
}

/**
 * @brief Feed a watchdog channel
 *
 * @param channel_id Channel ID to be fed
 * @return int 0 on success, -1 on error
 */
int watchdog_feed(int channel_id)
{
    int ret;
    ret = task_wdt_feed(channel_id);
    if (ret != 0) {
        LOG_ERR("Failed to feed watchdog channel %d: %d", channel_id, ret);
        return -1;
    }
    return 0;
}
```

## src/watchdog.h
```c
#ifndef _WATCHDOG_H
#define _WATCHDOG_H

#include <zephyr/kernel.h>

#if DT_NODE_HAS_STATUS_OKAY(DT_ALIAS(watchdog0))
#define WDT_NODE DT_ALIAS(watchdog0)
#elif DT_HAS_COMPAT_STATUS_OKAY(st_stm32_window_watchdog)
#define WDT_NODE DT_COMPAT_GET_ANY_STATUS_OKAY(st_stm32_window_watchdog)
#elif DT_HAS_COMPAT_STATUS_OKAY(st_stm32_watchdog)
#define WDT_NODE DT_COMPAT_GET_ANY_STATUS_OKAY(st_stm32_watchdog)
#else
#define WDT_NODE DT_INVALID_NODE
#endif

typedef void (*watchdog_callback_t)(int channel_id, void *user_data);
int watchdog_add(uint8_t reload_period, watchdog_callback_t callback, void *user_data);
int watchdog_delete(int channel_id);
int watchdog_feed(int channel_id);

#endif /* _WATCHDOG_H */
```
